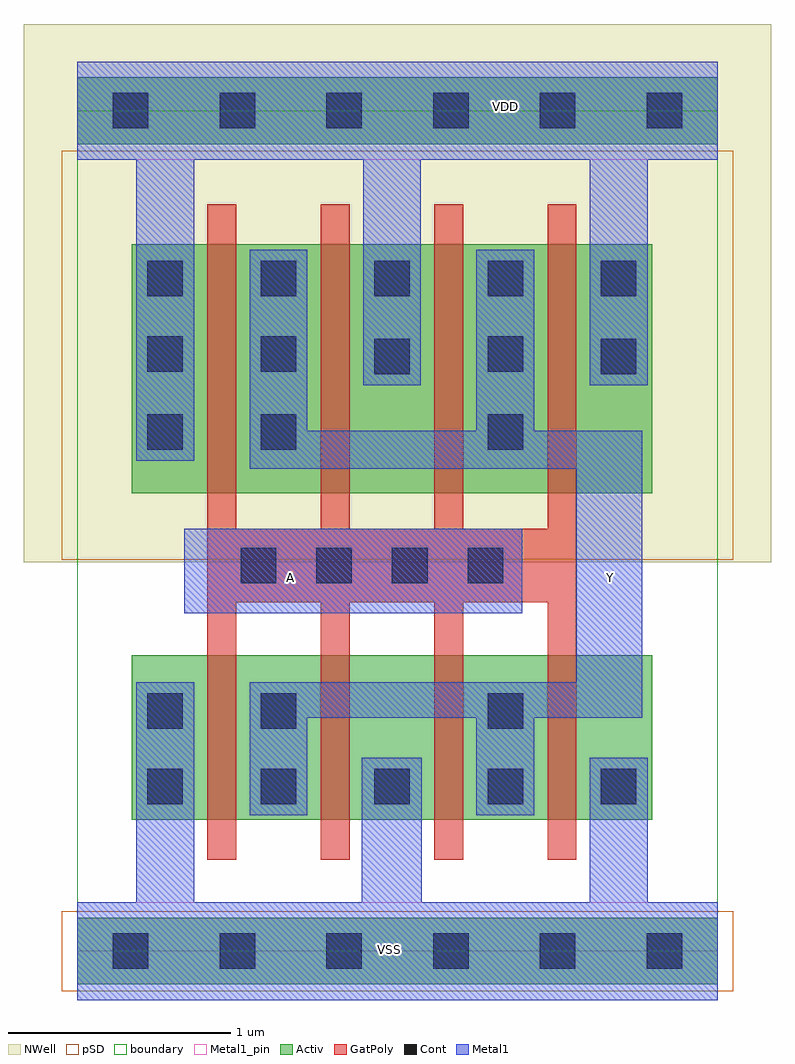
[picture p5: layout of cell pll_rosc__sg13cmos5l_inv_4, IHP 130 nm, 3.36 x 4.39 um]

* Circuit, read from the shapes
.subckt pll_rosc__sg13cmos5l_inv_4 A VDD VSS Y
XM1 Y A VSS VSS sg13_lv_nmos w=0.74u l=0.13u m=4
XM2 Y A VDD VDD sg13_lv_pmos w=1.12u l=0.13u m=4
.ends

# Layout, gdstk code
import gdstk
lib = gdstk.Library(unit=1e-6, precision=1e-09)
def R(c, l, rs):  # rectangles x0, y0, x1, y1
    for r in rs: c.add(gdstk.rectangle(r[:2], r[2:], *l))
def A(c, l, x, y, w, h, nx, ny, dx, dy):  # array of equal rectangles
    R(c, l, [(x+i*dx, y+j*dy, x+i*dx+w, y+j*dy+h) for i in range(nx) for j in range(ny)])
def P(c, l, *ps):  # polygons
    for p in ps: c.add(gdstk.Polygon(p, *l))
Activ = (1, 0)
GatPoly = (5, 0)
Cont = (6, 0)
Metal1 = (8, 0)
Metal1_pin = (8, 2)
pSD = (14, 0)
NWell = (31, 0)
boundary = (189, 4)

pll_rosc__sg13cmos5l_inv = lib.new_cell('pll_rosc__sg13cmos5l_inv_4')
R(pll_rosc__sg13cmos5l_inv, Activ, [(0,-0.15,2.88,0.15), (0.245,0.59,2.585,1.33), (0.245,2.06,2.585,3.18), (0,3.63,2.88,3.93)])
P(pll_rosc__sg13cmos5l_inv, GatPoly, [(0.585,0.41),(0.585,3.36),(0.715,3.36),(0.715,1.9),(1.095,1.9),(1.095,3.36),(1.225,3.36),(1.225,1.9),(1.605,1.9),(1.605,3.36),(1.735,3.36),(1.735,1.9),(2.115,1.9),(2.115,3.36),(2.245,3.36),(2.245,0.41),(2.115,0.41),(2.115,1.57),(1.735,1.57),(1.735,0.41),(1.605,0.41),(1.605,1.57),(1.225,1.57),(1.225,0.41),(1.095,0.41),(1.095,1.57),(0.715,1.57),(0.715,0.41)])
A(pll_rosc__sg13cmos5l_inv, Cont, 0.315, 0.66, 0.16, 0.16, 5, 2, 0.51, 2.285)
A(pll_rosc__sg13cmos5l_inv, Cont, 0.735, 1.655, 0.16, 0.16, 4, 1, 0.34, 0)
R(pll_rosc__sg13cmos5l_inv, Cont, [(0.16,-0.08,0.32,0.08), (0.16,-0.08,0.32,0.08), (0.64,-0.08,0.8,0.08), (0.64,-0.08,0.8,0.08), (1.12,-0.08,1.28,0.08), (1.12,-0.08,1.28,0.08), (1.6,-0.08,1.76,0.08), (1.6,-0.08,1.76,0.08), (2.08,-0.08,2.24,0.08), (2.08,-0.08,2.24,0.08), (2.56,-0.08,2.72,0.08), (2.56,-0.08,2.72,0.08), (0.315,1,0.475,1.16), (0.825,1,0.985,1.16), (1.845,1,2.005,1.16), (0.315,2.255,0.475,2.415), (0.825,2.255,0.985,2.415), (1.845,2.255,2.005,2.415), (1.335,2.595,1.495,2.755), (2.355,2.595,2.515,2.755), (0.315,2.605,0.475,2.765), (0.825,2.605,0.985,2.765), (1.845,2.605,2.005,2.765), (0.16,3.7,0.32,3.86), (0.16,3.7,0.32,3.86), (0.64,3.7,0.8,3.86), (0.64,3.7,0.8,3.86), (1.12,3.7,1.28,3.86), (1.12,3.7,1.28,3.86), (1.6,3.7,1.76,3.86), (1.6,3.7,1.76,3.86), (2.08,3.7,2.24,3.86), (2.08,3.7,2.24,3.86), (2.56,3.7,2.72,3.86), (2.56,3.7,2.72,3.86)])
R(pll_rosc__sg13cmos5l_inv, Metal1, [(0.48,1.52,2,1.9)])
P(pll_rosc__sg13cmos5l_inv, Metal1, [(0.775,0.61),(0.775,1.21),(2.245,1.21),(2.245,2.17),(0.775,2.17),(0.775,3.155),(1.035,3.155),(1.035,2.34),(1.795,2.34),(1.795,3.155),(2.055,3.155),(2.055,2.34),(2.54,2.34),(2.54,1.05),(2.055,1.05),(2.055,0.61),(1.795,0.61),(1.795,1.05),(1.035,1.05),(1.035,0.61)],
  [(0.265,2.205),(0.265,3.56),(0,3.56),(0,4),(2.88,4),(2.88,3.56),(2.565,3.56),(2.565,2.545),(2.305,2.545),(2.305,3.56),(1.545,3.56),(1.545,2.545),(1.285,2.545),(1.285,3.56),(0.525,3.56),(0.525,2.205)],
  [(0,-0.22),(0,0.22),(0.265,0.22),(0.265,1.21),(0.525,1.21),(0.525,0.22),(1.28,0.22),(1.28,0.87),(1.55,0.87),(1.55,0.22),(2.305,0.22),(2.305,0.87),(2.565,0.87),(2.565,0.22),(2.88,0.22),(2.88,-0.22)])
R(pll_rosc__sg13cmos5l_inv, Metal1_pin, [(0,-0.22,2.88,0.22), (2.245,1.05,2.54,2.34), (0.48,1.52,2,1.9), (0,3.56,2.88,4)])
R(pll_rosc__sg13cmos5l_inv, pSD, [(-0.07,-0.18,2.95,0.18), (-0.07,1.76,2.95,3.6)])
R(pll_rosc__sg13cmos5l_inv, NWell, [(-0.24,1.75,3.12,4.17)])
R(pll_rosc__sg13cmos5l_inv, boundary, [(0,0,2.88,3.78)])
pll_rosc__sg13cmos5l_inv.add(gdstk.Label('A', (0.96,1.68), layer=8, texttype=25))
pll_rosc__sg13cmos5l_inv.add(gdstk.Label('VDD', (1.925,3.8), layer=8, texttype=25))
pll_rosc__sg13cmos5l_inv.add(gdstk.Label('Y', (2.4,1.68), layer=8, texttype=25))
pll_rosc__sg13cmos5l_inv.add(gdstk.Label('VSS', (1.405,0.005), layer=8, texttype=25))

lib.write_gds('pll_rosc__sg13cmos5l_inv_4.gds')
